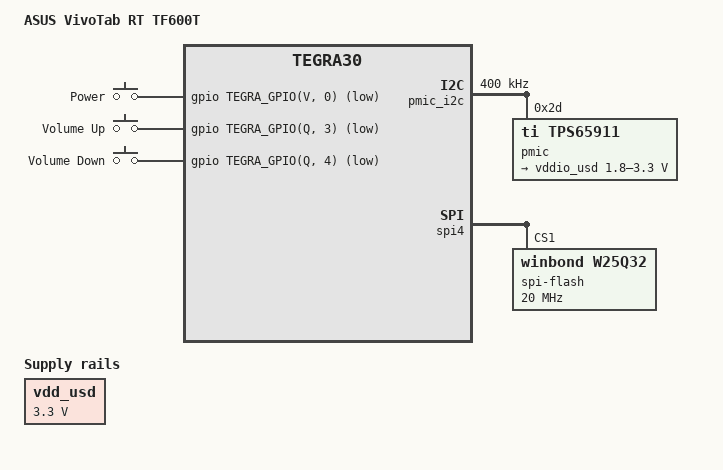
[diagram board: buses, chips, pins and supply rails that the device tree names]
// SPDX-License-Identifier: GPL-2.0-or-later
/dts-v1/;

#include <dt-bindings/input/input.h>

#include "tegra30-asus-transformer.dtsi"

/ {
	model = "ASUS VivoTab RT TF600T";

	aliases {
		spi0 = &spi4;
	};

	pmic_i2c: i2c@7000d000 {
		status = "okay";
		clock-frequency = <400000>;

		/* Texas Instruments TPS659110 PMIC */
		pmic: tps65911@2d {
			compatible = "ti,tps65911";
			reg = <0x2d>;

			interrupts = <GIC_SPI 86 IRQ_TYPE_LEVEL_HIGH>;
			#interrupt-cells = <2>;
			interrupt-controller;

			ti,system-power-controller;

			#gpio-cells = <2>;
			gpio-controller;

			regulators {
				/* uSD slot VDDIO */
				vddio_usd: ldo5 {
					regulator-name = "vddio_sdmmc";
					regulator-min-microvolt = <1800000>;
					regulator-max-microvolt = <3300000>;
					regulator-always-on;
				};
			};
		};
	};

	spi4: spi@7000da00 {
		status = "okay";
		spi-max-frequency = <25000000>;

		spi-flash@1 {
			compatible = "winbond,w25q32", "jedec,spi-nor";
			reg = <1>;
			spi-max-frequency = <20000000>;
		};
	};

	gpio-keys {
		compatible = "gpio-keys";

		key-power {
			label = "Power";
			gpios = <&gpio TEGRA_GPIO(V, 0) GPIO_ACTIVE_LOW>;
			linux,code = <KEY_ENTER>;
		};

		key-volume-up {
			label = "Volume Up";
			gpios = <&gpio TEGRA_GPIO(Q, 3) GPIO_ACTIVE_LOW>;
			linux,code = <KEY_UP>;
		};

		key-volume-down {
			label = "Volume Down";
			gpios = <&gpio TEGRA_GPIO(Q, 4) GPIO_ACTIVE_LOW>;
			linux,code = <KEY_DOWN>;
		};
	};

	vdd_usd: regulator-usd {
		compatible = "regulator-fixed";
		regulator-name = "vdd_usd";
		regulator-min-microvolt = <3300000>;
		regulator-max-microvolt = <3300000>;
	};
};
